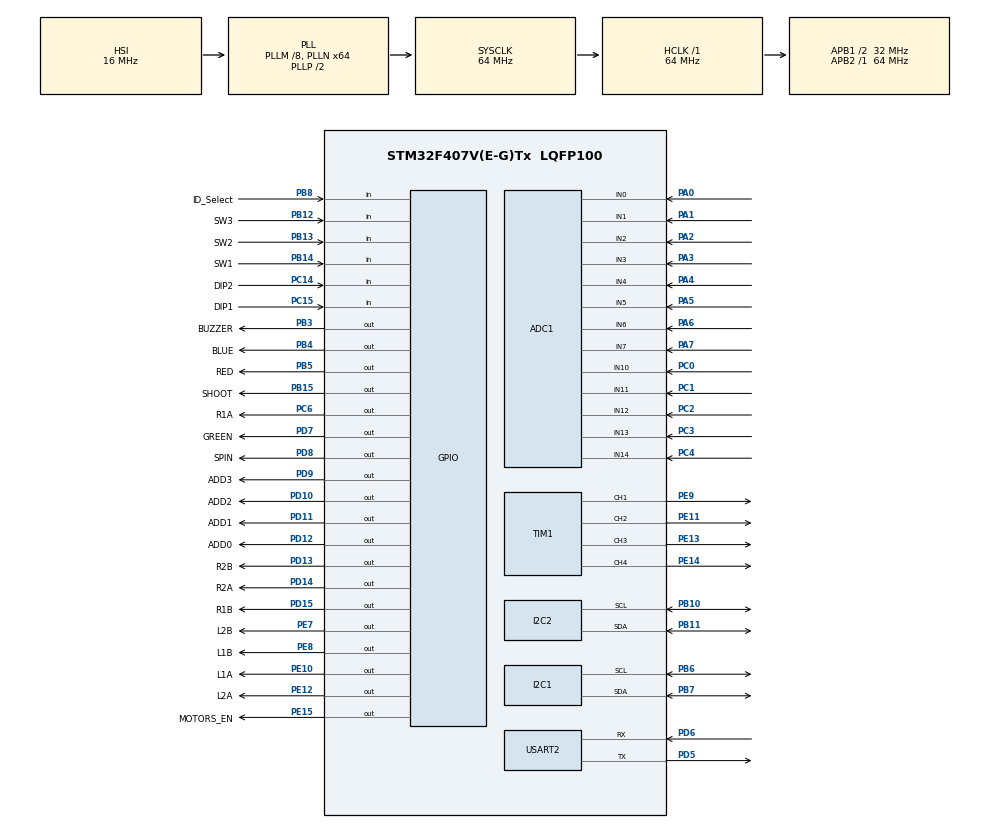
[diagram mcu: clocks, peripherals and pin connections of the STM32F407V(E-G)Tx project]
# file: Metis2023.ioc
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ADC1.Channel-0\#ChannelRegularConversion=ADC_CHANNEL_0
ADC1.NbrOfConversionFlag=1
ADC1.Rank-0\#ChannelRegularConversion=1
ADC1.SamplingTime-0\#ChannelRegularConversion=ADC_SAMPLETIME_3CYCLES
ADC1.master=1
I2C1.I2C_Mode=I2C_Fast
I2C2.I2C_Mode=I2C_Fast
Mcu.Family=STM32F4
Mcu.Name=STM32F407V(E-G)Tx
Mcu.Package=LQFP100
NVIC.PriorityGroup=NVIC_PRIORITYGROUP_4
PA0-WKUP.Signal=ADCx_IN0
PA1.Signal=ADCx_IN1
PA13.Mode=Serial_Wire
PA13.Signal=SYS_JTMS-SWDIO
PA14.Mode=Serial_Wire
PA14.Signal=SYS_JTCK-SWCLK
PA2.Signal=ADCx_IN2
PA3.Signal=ADCx_IN3
PA4.Signal=ADCx_IN4
PA5.Signal=ADCx_IN5
PA6.Signal=ADCx_IN6
PA7.Signal=ADCx_IN7
PB10.Mode=I2C
PB10.Signal=I2C2_SCL
PB11.Mode=I2C
PB11.Signal=I2C2_SDA
PB12.GPIO_Label=SW3
PB12.Signal=GPIO_Input
PB13.GPIO_Label=SW2
PB13.Signal=GPIO_Input
PB14.GPIO_Label=SW1
PB14.Signal=GPIO_Input
PB15.GPIO_Label=SHOOT
PB15.Signal=GPIO_Output
PB3.GPIO_Label=BUZZER
PB3.Signal=GPIO_Output
PB4.GPIO_Label=BLUE
PB4.Signal=GPIO_Output
PB5.GPIO_Label=RED
PB5.Signal=GPIO_Output
PB6.Mode=I2C
PB6.Signal=I2C1_SCL
PB7.Mode=I2C
PB7.Signal=I2C1_SDA
PB8.GPIO_Label=ID_Select
PB8.Signal=GPIO_Input
PC0.Signal=ADCx_IN10
PC1.Signal=ADCx_IN11
PC14-OSC32_IN.GPIO_Label=DIP2
PC14-OSC32_IN.Signal=GPIO_Input
PC15-OSC32_OUT.GPIO_Label=DIP1
PC15-OSC32_OUT.Signal=GPIO_Input
PC2.Signal=ADCx_IN12
PC3.Signal=ADCx_IN13
PC4.Signal=ADCx_IN14
PC6.GPIO_Label=R1A
PC6.Signal=GPIO_Output
PD10.GPIO_Label=ADD2
PD10.Signal=GPIO_Output
PD11.GPIO_Label=ADD1
PD11.Signal=GPIO_Output
PD12.GPIO_Label=ADD0
PD12.Signal=GPIO_Output
PD13.GPIO_Label=R2B
PD13.Signal=GPIO_Output
PD14.GPIO_Label=R2A
PD14.Signal=GPIO_Output
PD15.GPIO_Label=R1B
PD15.Signal=GPIO_Output
PD5.Mode=Asynchronous
PD5.Signal=USART2_TX
PD6.Mode=Asynchronous
PD6.Signal=USART2_RX
PD7.GPIO_Label=GREEN
PD7.Signal=GPIO_Output
PD8.GPIO_Label=SPIN
PD8.Signal=GPIO_Output
PD9.GPIO_Label=ADD3
PD9.Signal=GPIO_Output
PE10.GPIO_Label=L1A
PE10.Signal=GPIO_Output
PE11.Signal=S_TIM1_CH2
PE12.GPIO_Label=L2A
PE12.Signal=GPIO_Output
PE13.Signal=S_TIM1_CH3
PE14.Signal=S_TIM1_CH4
PE15.GPIO_Label=MOTORS_EN
PE15.PinState=GPIO_PIN_SET
PE15.Signal=GPIO_Output
PE7.GPIO_Label=L2B
PE7.Signal=GPIO_Output
PE8.GPIO_Label=L1B
PE8.Signal=GPIO_Output
PE9.Signal=S_TIM1_CH1
PH0-OSC_IN.Mode=HSE-External-Oscillator
PH0-OSC_IN.Signal=RCC_OSC_IN
PH1-OSC_OUT.Mode=HSE-External-Oscillator
PH1-OSC_OUT.Signal=RCC_OSC_OUT
ProjectManager.HeapSize=0x200
ProjectManager.StackSize=0x400
ProjectManager.TargetToolchain=STM32CubeIDE
RCC.48MHZClocksFreq_Value=32000000
RCC.AHBFreq_Value=64000000
RCC.APB1CLKDivider=RCC_HCLK_DIV2
RCC.APB1Freq_Value=32000000
RCC.APB1TimFreq_Value=64000000
RCC.APB2Freq_Value=64000000
RCC.APB2TimFreq_Value=64000000
RCC.CortexFreq_Value=64000000
RCC.HCLKFreq_Value=64000000
RCC.HSE_VALUE=25000000
RCC.HSI_VALUE=16000000
RCC.LSE_VALUE=32768
RCC.PLLM=8
RCC.PLLN=64
RCC.SYSCLKFreq_VALUE=64000000
RCC.SYSCLKSource=RCC_SYSCLKSOURCE_PLLCLK
RCC.VCOOutputFreq_Value=128000000
SH.ADCx_IN0.0=ADC1_IN0,IN0
SH.ADCx_IN1.0=ADC1_IN1,IN1
SH.ADCx_IN10.0=ADC1_IN10,IN10
SH.ADCx_IN11.0=ADC1_IN11,IN11
SH.ADCx_IN12.0=ADC1_IN12,IN12
SH.ADCx_IN13.0=ADC1_IN13,IN13
SH.ADCx_IN14.0=ADC1_IN14,IN14
SH.ADCx_IN2.0=ADC1_IN2,IN2
SH.ADCx_IN3.0=ADC1_IN3,IN3
SH.ADCx_IN4.0=ADC1_IN4,IN4
SH.ADCx_IN5.0=ADC1_IN5,IN5
SH.ADCx_IN6.0=ADC1_IN6,IN6
SH.ADCx_IN7.0=ADC1_IN7,IN7
SH.S_TIM1_CH1.0=TIM1_CH1,PWM Generation1 CH1
SH.S_TIM1_CH2.0=TIM1_CH2,PWM Generation2 CH2
SH.S_TIM1_CH3.0=TIM1_CH3,PWM Generation3 CH3
SH.S_TIM1_CH4.0=TIM1_CH4,PWM Generation4 CH4
TIM1.Channel-PWM\ Generation1\ CH1=TIM_CHANNEL_1
TIM1.Channel-PWM\ Generation2\ CH2=TIM_CHANNEL_2
TIM1.Channel-PWM\ Generation3\ CH3=TIM_CHANNEL_3
TIM1.Channel-PWM\ Generation4\ CH4=TIM_CHANNEL_4
USART2.VirtualMode=VM_ASYNC
board=custom

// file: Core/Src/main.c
/* USER CODE BEGIN Header */
/**
  ******************************************************************************
  * @file           : main.c
  * @brief          : Main program body
  ******************************************************************************
  * @attention
  *
  * Copyright (c) 2023 STMicroelectronics.
  * All rights reserved.
  *
  * This software is licensed under terms that can be found in the LICENSE file
  * in the root directory of this software component.
  * If no LICENSE file comes with this software, it is provided AS-IS.
  *
  ******************************************************************************
  */
/* USER CODE END Header */
#include "main.h"

/* USER CODE BEGIN Includes */
#include "math.h"
#include "fonts.h"
#include "ssd1306.h"

/* USER CODE END Includes */

 ADC_HandleTypeDef hadc1;

I2C_HandleTypeDef hi2c1;
I2C_HandleTypeDef hi2c2;

TIM_HandleTypeDef htim1;

UART_HandleTypeDef huart2;

/* USER CODE BEGIN PV */
#define RED_ON 	HAL_GPIO_WritePin(RED_GPIO_Port, RED_Pin, 1);
#define RED_OFF HAL_GPIO_WritePin(RED_GPIO_Port, RED_Pin, 0);
#define GREEN_ON 	HAL_GPIO_WritePin(GREEN_GPIO_Port, GREEN_Pin, 1);
#define GREEN_OFF HAL_GPIO_WritePin(GREEN_GPIO_Port, GREEN_Pin, 0);
#define BLUE_ON 	HAL_GPIO_WritePin(BLUE_GPIO_Port, BLUE_Pin, 1);
#define BLUE_OFF HAL_GPIO_WritePin(BLUE_GPIO_Port, BLUE_Pin, 0);
#define BUZZER_ON 	HAL_GPIO_WritePin(BUZZER_GPIO_Port, BUZZER_Pin, 1);
#define BUZZER_OFF HAL_GPIO_WritePin(BUZZER_GPIO_Port, BUZZER_Pin, 0);

/* USER CODE END PV */

void SystemClock_Config(void);
static void MX_GPIO_Init(void);
static void MX_TIM1_Init(void);
static void MX_ADC1_Init(void);
static void MX_I2C1_Init(void);
static void MX_I2C2_Init(void);
static void MX_USART2_UART_Init(void);

/* USER CODE BEGIN 0 */

#define Rahman_x 146
#define Rahman_y 102

#define Rahim_x 167
#define Rahim_y 121

int v = 100;
uint8_t i2c_tx_data[1] = {0};
uint8_t i2c_rx_data[64];
int x_robot, y_robot; // Inja taghir nade (boro balatar)!!!!!!!!
uint16_t checksum, signature, x_ball, y_ball, w_goal, h_goal, x_goal, y_goal;
int ball_angle , ball_dist, is_ball = 0;
int goal_angle , goal_dist, is_goal = 0;
#define RX2_Size 8
uint8_t Rx2_Buff[RX2_Size];
int16_t Pitch=0, Roll=0, Heading=0, rotation_fix = 0;
uint8_t GY_A5[] = {0xA5}, GY_54[] = {0x54}, GY_51[] = {0x51}, GY_55[] = {0x55}, GY_Init_Command[]    = {0xA5, 0x54, 0xA5, 0x51}, GY_Request_Command[] = {0xA5, 0x51}, GY_Set_Command[] = {0xA5, 0x55};
int kaf[16];
int kaf_set[] = {0,0,0,0,0,0,0,0,0,0,0,0,0,0,0,0};
int arrived_to_goal = 0, ball_in_kicker = 0;
int already_shooted = 0, shoot_cnt = 0, mf_cnt = 0, stop_before_shoot_cnt = 0, out_cnt;
#define LDR_Sens 200
char look_dir = 'F';
char* robotID;

void initGY(){
	HAL_Delay(500);
	HAL_UART_Transmit(&huart2, GY_A5, 1, 100);
	HAL_UART_Transmit(&huart2, GY_54, 1, 100);
	HAL_Delay(500);
	HAL_UART_Transmit(&huart2, GY_A5, 1, 100);
	HAL_UART_Transmit(&huart2, GY_51, 1, 100);
	HAL_Delay(500);
	HAL_UART_Transmit(&huart2, GY_A5, 1, 100);
	HAL_UART_Transmit(&huart2, GY_55, 1, 100);
	HAL_Delay(500);
}
void readGY(){
	HAL_UART_Transmit(&huart2, GY_A5, 1, 100);
	HAL_UART_Transmit(&huart2, GY_51, 1, 100);
	HAL_UART_Receive(&huart2, Rx2_Buff, RX2_Size, 100);
	for(int i=0; i<RX2_Size; i++){
		if(Rx2_Buff[i] == 0xAA){
			Heading = (int16_t)(Rx2_Buff[(i+1)%8]<<8 | Rx2_Buff[(i+2)%8])/100.00 + rotation_fix;
			Pitch = (int16_t)(Rx2_Buff[(i+3)%8]<<8 | Rx2_Buff[(i+4)%8])/100.00;
			Roll = (int16_t)(Rx2_Buff[(i+5)%8]<<8 | Rx2_Buff[(i+6)%8])/100.00;
			if(Heading > 180) Heading -= 360;
			if(Heading <-180) Heading += 360;

		}
	}
}
void print_num(char* label, int num, int x, int y){
	SSD1306_GotoXY(x, y);
	SSD1306_Puts(label, &Font_7x10, SSD1306_COLOR_WHITE);
	if(num >= 0){
		SSD1306_Putc('+', &Font_7x10, SSD1306_COLOR_WHITE);
		SSD1306_Putc((num/1000)%10+'0', &Font_7x10, SSD1306_COLOR_WHITE);
		SSD1306_Putc((num/100)%10+'0', &Font_7x10, SSD1306_COLOR_WHITE);
		SSD1306_Putc((num/10)%10+'0', &Font_7x10, SSD1306_COLOR_WHITE);
		SSD1306_Putc((num/1)%10+'0', &Font_7x10, SSD1306_COLOR_WHITE);
	}else{
		SSD1306_Putc('-', &Font_7x10, SSD1306_COLOR_WHITE);
		SSD1306_Putc((-num/1000)%10+'0', &Font_7x10, SSD1306_COLOR_WHITE);
		SSD1306_Putc((-num/100)%10+'0', &Font_7x10, SSD1306_COLOR_WHITE);
		SSD1306_Putc((-num/10)%10+'0', &Font_7x10, SSD1306_COLOR_WHITE);
		SSD1306_Putc((-num/1)%10+'0', &Font_7x10, SSD1306_COLOR_WHITE);
	}
}
uint32_t read_adc(uint32_t channel){
	ADC_ChannelConfTypeDef sConfig = {0};
	sConfig.SamplingTime = ADC_SAMPLETIME_15CYCLES;
	sConfig.Channel = channel;
	sConfig.Rank = 1;
	HAL_ADC_ConfigChannel(&hadc1, &sConfig);
	HAL_ADC_Start(&hadc1);
	HAL_ADC_PollForConversion(&hadc1, HAL_MAX_DELAY);
	uint32_t val = HAL_ADC_GetValue(&hadc1);
	return val;
}
void motor(int l1, int l2, int r2, int r1){
	int c;
	if(look_dir == 'F') c = Heading;
	if(look_dir == 'B') c = Heading + 180;
	if(c > 180)  c -= 360;
	if(c < -180) c += 360;

	if(c > 70)  c = 70;
	if(c < -70) c = -70;
	l1+=c;
	l2+=c;
	r1+=c;
	r2+=c;

	l1 *= 210;
	l2 *= 250;
	r2 *= 250;
	r1 *= 210;

	if(l1 > 65535)  l1 = 65535;
	if(l2 > 65535)  l2 = 65535;
	if(r1 > 65535)  r1 = 65535;
	if(r2 > 65535)  r2 = 65535;
	if(l1 < -65535) l1 = -65535;
	if(l2 < -65535) l2 = -65535;
	if(r1 < -65535) r1 = -65535;
	if(r2 < -65535) r2 = -65535;

	// ------------- Motor L1
	if(l1 > 0){
		HAL_GPIO_WritePin(L1A_GPIO_Port, L1A_Pin, 1);
		HAL_GPIO_WritePin(L1B_GPIO_Port, L1B_Pin, 0);
		TIM1->CCR1 = l1;
	}
	else if(l1 < 0){
		HAL_GPIO_WritePin(L1A_GPIO_Port, L1A_Pin, 0);
		HAL_GPIO_WritePin(L1B_GPIO_Port, L1B_Pin, 1);
		TIM1->CCR1 = -l1;
	}
	else{
		HAL_GPIO_WritePin(L1A_GPIO_Port, L1A_Pin, 1);
		HAL_GPIO_WritePin(L1B_GPIO_Port, L1B_Pin, 1);
	}
	// ------------- Motor L2
	if(l2 > 0){
		HAL_GPIO_WritePin(L2A_GPIO_Port, L2A_Pin, 1);
		HAL_GPIO_WritePin(L2B_GPIO_Port, L2B_Pin, 0);
		TIM1->CCR2 = l2;
	}
	else if(l2 < 0){
		HAL_GPIO_WritePin(L2A_GPIO_Port, L2A_Pin, 0);
		HAL_GPIO_WritePin(L2B_GPIO_Port, L2B_Pin, 1);
		TIM1->CCR2 = -l2;
	}
	else{
		HAL_GPIO_WritePin(L2A_GPIO_Port, L2A_Pin, 1);
		HAL_GPIO_WritePin(L2B_GPIO_Port, L2B_Pin, 1);
	}

	// ------------- Motor R1
	if(r1 > 0){
		HAL_GPIO_WritePin(R1A_GPIO_Port, R1A_Pin, 1);
		HAL_GPIO_WritePin(R1B_GPIO_Port, R1B_Pin, 0);
		TIM1->CCR4 = r1;
	}
	else if(r1 < 0){
		HAL_GPIO_WritePin(R1A_GPIO_Port, R1A_Pin, 0);
		HAL_GPIO_WritePin(R1B_GPIO_Port, R1B_Pin, 1);
		TIM1->CCR4 = -r1;
	}
	else{
		HAL_GPIO_WritePin(R1A_GPIO_Port, R1A_Pin, 1);
		HAL_GPIO_WritePin(R1B_GPIO_Port, R1B_Pin, 1);
	}
	// ------------- Motor R2
	if(r2 > 0){
		HAL_GPIO_WritePin(R2A_GPIO_Port, R2A_Pin, 1);
		HAL_GPIO_WritePin(R2B_GPIO_Port, R2B_Pin, 0);
		TIM1->CCR3 = r2;
	}
	else if(r2 < 0){
		HAL_GPIO_WritePin(R2A_GPIO_Port, R2A_Pin, 0);
		HAL_GPIO_WritePin(R2B_GPIO_Port, R2B_Pin, 1);
		TIM1->CCR3 = -r2;
	}
	else{
		HAL_GPIO_WritePin(R2A_GPIO_Port, R2A_Pin, 1);
		HAL_GPIO_WritePin(R2B_GPIO_Port, R2B_Pin, 1);
	}
}
void motor_without_correction(int l1, int l2, int r2, int r1){
	l1 *= 255;
	l2 *= 255;
	r1 *= 255;
	r2 *= 255;

	if(l1 > 65535)  l1 = 65535;
	if(l2 > 65535)  l2 = 65535;
	if(r1 > 65535)  r1 = 65535;
	if(r2 > 65535)  r2 = 65535;
	if(l1 < -65535) l1 = -65535;
	if(l2 < -65535) l2 = -65535;
	if(r1 < -65535) r1 = -65535;
	if(r2 < -65535) r2 = -65535;

	// ------------- Motor L1
	if(l1 > 0){
		HAL_GPIO_WritePin(L1A_GPIO_Port, L1A_Pin, 1);
		HAL_GPIO_WritePin(L1B_GPIO_Port, L1B_Pin, 0);
		TIM1->CCR1 = l1;
	}
	else if(l1 < 0){
		HAL_GPIO_WritePin(L1A_GPIO_Port, L1A_Pin, 0);
		HAL_GPIO_WritePin(L1B_GPIO_Port, L1B_Pin, 1);
		TIM1->CCR1 = -l1;
	}
	else{
		HAL_GPIO_WritePin(L1A_GPIO_Port, L1A_Pin, 1);
		HAL_GPIO_WritePin(L1B_GPIO_Port, L1B_Pin, 1);
	}
	// ------------- Motor L2
	if(l2 > 0){
		HAL_GPIO_WritePin(L2A_GPIO_Port, L2A_Pin, 1);
		HAL_GPIO_WritePin(L2B_GPIO_Port, L2B_Pin, 0);
		TIM1->CCR2 = l2;
	}
	else if(l2 < 0){
		HAL_GPIO_WritePin(L2A_GPIO_Port, L2A_Pin, 0);
		HAL_GPIO_WritePin(L2B_GPIO_Port, L2B_Pin, 1);
		TIM1->CCR2 = -l2;
	}
	else{
		HAL_GPIO_WritePin(L2A_GPIO_Port, L2A_Pin, 1);
		HAL_GPIO_WritePin(L2B_GPIO_Port, L2B_Pin, 1);
	}

	// ------------- Motor R1
	if(r1 > 0){
		HAL_GPIO_WritePin(R1A_GPIO_Port, R1A_Pin, 1);
		HAL_GPIO_WritePin(R1B_GPIO_Port, R1B_Pin, 0);
		TIM1->CCR4 = r1;
	}
	else if(r1 < 0){
		HAL_GPIO_WritePin(R1A_GPIO_Port, R1A_Pin, 0);
		HAL_GPIO_WritePin(R1B_GPIO_Port, R1B_Pin, 1);
		TIM1->CCR4 = -r1;
	}
	else{
		HAL_GPIO_WritePin(R1A_GPIO_Port, R1A_Pin, 1);
		HAL_GPIO_WritePin(R1B_GPIO_Port, R1B_Pin, 1);
	}
	// ------------- Motor R2
	if(r2 > 0){
		HAL_GPIO_WritePin(R2A_GPIO_Port, R2A_Pin, 1);
		HAL_GPIO_WritePin(R2B_GPIO_Port, R2B_Pin, 0);
		TIM1->CCR3 = r2;
	}
	else if(r2 < 0){
		HAL_GPIO_WritePin(R2A_GPIO_Port, R2A_Pin, 0);
		HAL_GPIO_WritePin(R2B_GPIO_Port, R2B_Pin, 1);
		TIM1->CCR3 = -r2;
	}
	else{
		HAL_GPIO_WritePin(R2A_GPIO_Port, R2A_Pin, 1);
		HAL_GPIO_WritePin(R2B_GPIO_Port, R2B_Pin, 1);
	}
}
void fast_stop(){
	 HAL_GPIO_WritePin(L1A_GPIO_Port, L1A_Pin, 1);
	 HAL_GPIO_WritePin(L1B_GPIO_Port, L1B_Pin, 1);
	 HAL_GPIO_WritePin(L2A_GPIO_Port, L2A_Pin, 1);
	 HAL_GPIO_WritePin(L2B_GPIO_Port, L2B_Pin, 1);
	 HAL_GPIO_WritePin(R1A_GPIO_Port, R1A_Pin, 1);
	 HAL_GPIO_WritePin(R1B_GPIO_Port, R1B_Pin, 1);
	 HAL_GPIO_WritePin(R2A_GPIO_Port, R2A_Pin, 1);
	 HAL_GPIO_WritePin(R2B_GPIO_Port, R2B_Pin, 1);
}
void stop() {
	motor(0,0,0,0);
}
void move(int a){
	if(a>360)     a-=360;
	if(a<0)       a+=360;
	int x = v * cos(a * M_PI / 180);
	int y = v * sin(a * M_PI / 180);
	motor((x + y) , (x - y) , (- x - y), (y - x));
}
void move_without_correction(int a){
	if(a>360)     a-=360;
	if(a<0)       a+=360;
	int x = v * cos(a * M_PI / 180);
	int y = v * sin(a * M_PI / 180);
	motor_without_correction((x + y) , (x - y) , (- x - y), (y - x));
}
void read_pixy(){
	if (HAL_I2C_Master_Receive(&hi2c1, 0x54 << 1,i2c_rx_data, sizeof(i2c_rx_data), 100) == HAL_OK){
		is_ball = 0;
		is_goal = 0;
		for (int i = sizeof(i2c_rx_data)-10; i >=0 ; i--) {
			if(i2c_rx_data[i] == 0x55 && i2c_rx_data[i+1] == 0xaa && i2c_rx_data[i+2] != 0xaa && i2c_rx_data[i+2] != 0x55 ){
				checksum  = i2c_rx_data[i+2]  | (i2c_rx_data[i+3] << 8);
				if(checksum == (i2c_rx_data[i+4]  | (i2c_rx_data[i+5] << 8)) + (i2c_rx_data[i+6]  | (i2c_rx_data[i+7] << 8)) + (i2c_rx_data[i+8]  | (i2c_rx_data[i+9] << 8)) + (i2c_rx_data[i+10] | (i2c_rx_data[i+11]<< 8)) + (i2c_rx_data[i+12] | (i2c_rx_data[i+13]<< 8))){
					signature = i2c_rx_data[i+4]  | (i2c_rx_data[i+5] << 8);
					if(signature == 1){
						x_ball    = i2c_rx_data[i+6]  | (i2c_rx_data[i+7] << 8);
						y_ball 	  = i2c_rx_data[i+8]  | (i2c_rx_data[i+9] << 8);
						ball_angle     = atan2(y_ball - y_robot, x_robot - x_ball) * 180 / M_PI;
						if(ball_angle < 0)   ball_angle = ball_angle + 360;
						ball_dist = sqrt(pow(x_robot - x_ball , 2) + pow(y_robot - y_ball , 2));
						is_ball = 1;
					}
					else if(signature == 2){
						x_goal    = i2c_rx_data[i+6]  | (i2c_rx_data[i+7] << 8);
						y_goal 	  = i2c_rx_data[i+8]  | (i2c_rx_data[i+9] << 8);
						w_goal 	  = i2c_rx_data[i+10] | (i2c_rx_data[i+11]<< 8);
						h_goal 	  = i2c_rx_data[i+12] | (i2c_rx_data[i+13]<< 8);
						goal_angle     = atan2(y_goal - y_robot, x_robot - x_goal) * 180 / M_PI;
						if(goal_angle < 0)   goal_angle = goal_angle + 360;
						goal_dist = sqrt(pow(x_robot - x_goal , 2) + pow(y_robot - y_goal , 2));
						is_goal = 1;
					}
				}
			}
		}
	}
}
void read_sensors(){
	if(HAL_GPIO_ReadPin(SW1_GPIO_Port, SW1_Pin)){
		RED_ON;
		BUZZER_ON;
		for(int i=0; i<16; i++){
			HAL_GPIO_WritePin(ADD0_GPIO_Port, ADD0_Pin, (i/1)%2);
			HAL_GPIO_WritePin(ADD1_GPIO_Port, ADD1_Pin, (i/2)%2);
			HAL_GPIO_WritePin(ADD2_GPIO_Port, ADD2_Pin, (i/4)%2);
			HAL_GPIO_WritePin(ADD3_GPIO_Port, ADD3_Pin, (i/8)%2);
			kaf_set[i] = read_adc(ADC_CHANNEL_14);
		}
		while(HAL_GPIO_ReadPin(SW1_GPIO_Port, SW1_Pin));
		RED_OFF;
		BUZZER_OFF;
	}
	for(int i=0; i<16; i++){
		HAL_GPIO_WritePin(ADD0_GPIO_Port, ADD0_Pin, (i/1)%2);
		HAL_GPIO_WritePin(ADD1_GPIO_Port, ADD1_Pin, (i/2)%2);
		HAL_GPIO_WritePin(ADD2_GPIO_Port, ADD2_Pin, (i/4)%2);
		HAL_GPIO_WritePin(ADD3_GPIO_Port, ADD3_Pin, (i/8)%2);
		if(i == 5)  kaf[0]  = kaf_set[i] - read_adc(ADC_CHANNEL_14);
		if(i == 9)  kaf[1]  = kaf_set[i] - read_adc(ADC_CHANNEL_14);
		if(i == 11) kaf[2]  = kaf_set[i] - read_adc(ADC_CHANNEL_14);
		if(i == 4)  kaf[3]  = kaf_set[i] - read_adc(ADC_CHANNEL_14);
		if(i == 6)  kaf[4]  = kaf_set[i] - read_adc(ADC_CHANNEL_14);
		if(i == 8)  kaf[5]  = kaf_set[i] - read_adc(ADC_CHANNEL_14);
		if(i == 12) kaf[6]  = kaf_set[i] - read_adc(ADC_CHANNEL_14);
		if(i == 7)  kaf[7]  = kaf_set[i] - read_adc(ADC_CHANNEL_14);
		if(i == 3)  kaf[8]  = kaf_set[i] - read_adc(ADC_CHANNEL_14);
		if(i == 1)  kaf[9]  = kaf_set[i] - read_adc(ADC_CHANNEL_14);
		if(i == 14) kaf[10] = kaf_set[i] - read_adc(ADC_CHANNEL_14);
		if(i == 10) kaf[11] = kaf_set[i] - read_adc(ADC_CHANNEL_14);
		if(i == 2)  kaf[12] = kaf_set[i] - read_adc(ADC_CHANNEL_14);
		if(i == 15) kaf[13] = kaf_set[i] - read_adc(ADC_CHANNEL_14);
		if(i == 13) kaf[14] = kaf_set[i] - read_adc(ADC_CHANNEL_14);
		if(i == 0)  kaf[15] = kaf_set[i] - read_adc(ADC_CHANNEL_14);
	}
	int shoot_sens   = read_adc(ADC_CHANNEL_10);
	if(shoot_sens < 2500) ball_in_kicker = 1;
	else 				  ball_in_kicker = 0;
//	int battery_volt = read_adc(ADC_CHANNEL_7) * 0.044;
	read_pixy();
	readGY();

	print_num("GY:", Heading, 0, 0);
	print_num("XB:", x_ball, 0, 10);
	print_num("YB:", y_ball, 0, 20);
	print_num("BA:", ball_angle, 0, 30);
	print_num("BD", ball_dist, 0, 40);
	print_num("SH", shoot_sens, 0, 50);
	SSD1306_GotoXY(64, 0);
	if(HAL_GPIO_ReadPin(DIP1_GPIO_Port, DIP1_Pin))
		SSD1306_Puts("Rotate", &Font_7x10, 1);
	else
		SSD1306_Puts("Straight", &Font_7x10, 1);
	SSD1306_GotoXY(64, 10);
	if(HAL_GPIO_ReadPin(DIP2_GPIO_Port, DIP2_Pin))
		SSD1306_Puts("Goalkpr", &Font_7x10, 1);
	else
		SSD1306_Puts("Forward", &Font_7x10, 1);
	SSD1306_GotoXY(64, 50);
	SSD1306_Puts(robotID, &Font_7x10, 1);
}
void delay(int sec){
	for(int i=0; i<sec; i++){
		read_sensors();
	}
}
void spin(int spin){
	if      (spin==1)  		 HAL_GPIO_WritePin(SPIN_GPIO_Port, SPIN_Pin, 1);
	else if (spin==0)		 HAL_GPIO_WritePin(SPIN_GPIO_Port, SPIN_Pin, 0);
}
void shoot(){
	if( already_shooted == 1){
		shoot_cnt++;
		if(shoot_cnt > 50)  already_shooted = 0;
	}
	HAL_GPIO_WritePin(SHOOT_GPIO_Port, SHOOT_Pin, 1);
	delay(5);
	HAL_GPIO_WritePin(SHOOT_GPIO_Port, SHOOT_Pin, 0);
	delay(5);
	already_shooted = 1;
	shoot_cnt = 0;
}
void rotate_and_shoot(){
	spin(1);
	v = 50;
	if(mf_cnt < 5){
		arrived_to_goal = 0;
		move(0);
		mf_cnt++;
	}
	else{
		look_dir = 'B';
		if(Heading < 135 && Heading > -135 && arrived_to_goal == 0){
			if(Heading < 0) motor_without_correction(70, 70, 70, 0);
			else 			motor_without_correction(0, -70, -70, -70);
		}
		else{
			if (arrived_to_goal == 0) {
				v = 50;
				move(goal_angle);
				if(kaf[15] > LDR_Sens || kaf[14] > LDR_Sens || kaf[13] > LDR_Sens || kaf[9] > LDR_Sens || kaf[6] > LDR_Sens) arrived_to_goal = 1;
				stop_before_shoot_cnt = 0;
			}
			else {
				if(goal_angle < 5 || goal_angle > 355) {
					fast_stop();
					shoot();
				}
				else if(goal_angle < 180) {
					motor_without_correction(70, 70, 70, 0);
//					last_turn_dir = 'R';
					stop_before_shoot_cnt = 0;
				}
				else if(goal_angle >=180) {
					motor_without_correction(0, -70, -70, -70);
//					last_turn_dir = 'L';
					stop_before_shoot_cnt = 0;
				}

			}
		}
	}
}
void shoot_straight(){
	spin(1);
	if(mf_cnt < 5){
		arrived_to_goal = 0;
		move(0);
		mf_cnt++;
	}
	else{
		if(goal_angle < 3 || goal_angle > 357) {
			fast_stop();
			shoot();
		}
		else if(goal_angle < 180)
			motor_without_correction(70, 70, 70, 0);
		else if(goal_angle >=180)
			motor_without_correction(0, -70, -70, -70);
	}
}
void moveForSec(int angle, int sec){
	for(int i=0; i<sec; i++){
		read_sensors();
		move(angle);
	}
}
void OUT(){
	out_cnt = 0;
	v = 80;
	if(kaf[15] > LDR_Sens || kaf[14] > LDR_Sens || kaf[13] > LDR_Sens || kaf[9] > LDR_Sens || kaf[6] > LDR_Sens) arrived_to_goal = 1;
	if(kaf[0] > LDR_Sens || kaf[1] > LDR_Sens || kaf[2] > LDR_Sens || kaf[4] > LDR_Sens){
		fast_stop();
		moveForSec(180, 10);
		while(is_ball && out_cnt <30){
		  read_sensors();
		  stop();
		  out_cnt++;
		}
	}
	else if(kaf[3] > LDR_Sens){
		fast_stop();
		moveForSec(225, 10);
		while(is_ball && out_cnt <30){
			read_sensors();
			stop();
			out_cnt++;
		}
	}
	else if(kaf[6] > LDR_Sens || kaf[7] > LDR_Sens){
		fast_stop();
		moveForSec(270, 10);
		while(is_ball && out_cnt <30){
		  read_sensors();
		  stop();
		  out_cnt++;
		}
	}
	else if(kaf[10] > LDR_Sens){
		fast_stop();
		moveForSec(315, 10);
		while(is_ball && out_cnt <30){
			read_sensors();
			stop();
			out_cnt++;
		}
	}
	else if(kaf[13] > LDR_Sens || kaf[14] > LDR_Sens || kaf[15] > LDR_Sens || kaf[11] > LDR_Sens){
		fast_stop();
		moveForSec(0, 10);
		while(is_ball && out_cnt <30){
		  read_sensors();
		  stop();
		  out_cnt++;
		}
	}
	else if(kaf[12] > LDR_Sens){
		fast_stop();
		moveForSec(45, 10);
		while(is_ball && out_cnt <30){
			read_sensors();
			stop();
			out_cnt++;
		}
	}
	else if(kaf[9] > LDR_Sens || kaf[8] > LDR_Sens){
		fast_stop();
		moveForSec(90, 10);
		while(is_ball && out_cnt <30){
		  read_sensors();
		  stop();
		  out_cnt++;
		}
	}
	else if(kaf[5] > LDR_Sens){
		fast_stop();
		moveForSec(135, 10);
		while(is_ball && out_cnt <30){
			read_sensors();
			stop();
			out_cnt++;
	  }
	}
}
void motor_test(){
	motor_without_correction(100, 0, 0, 0);
	HAL_Delay(1000);
	motor_without_correction(0, 1000, 0, 0);
	HAL_Delay(1000);
	motor_without_correction(0, 0, 100, 0);
	HAL_Delay(1000);
	motor_without_correction(0, 0, 0, 100);
	HAL_Delay(1000);

}

/* USER CODE END 0 */

int main(void)
{

  /* MCU Configuration--------------------------------------------------------*/

  /* Reset of all peripherals, Initializes the Flash interface and the Systick. */
  HAL_Init();

  /* Configure the system clock */
  SystemClock_Config();

  /* Initialize all configured peripherals */
  MX_GPIO_Init();
  MX_TIM1_Init();
  MX_ADC1_Init();
  MX_I2C1_Init();
  MX_I2C2_Init();
  MX_USART2_UART_Init();
  /* USER CODE BEGIN 2 */
  HAL_GPIO_WritePin(MOTORS_EN_GPIO_Port, MOTORS_EN_Pin, 1);
  HAL_TIM_PWM_Start(&htim1, TIM_CHANNEL_1);
  HAL_TIM_PWM_Start(&htim1, TIM_CHANNEL_2);
  HAL_TIM_PWM_Start(&htim1, TIM_CHANNEL_3);
  HAL_TIM_PWM_Start(&htim1, TIM_CHANNEL_4);
  for(int i=0; i<2; i++){
	HAL_GPIO_WritePin(BLUE_GPIO_Port, BLUE_Pin, 1);
	HAL_GPIO_WritePin(BUZZER_GPIO_Port, BUZZER_Pin, 1);
	HAL_Delay(100);
	HAL_GPIO_WritePin(BLUE_GPIO_Port, BLUE_Pin, 0);
	HAL_GPIO_WritePin(BUZZER_GPIO_Port, BUZZER_Pin, 0);
	HAL_Delay(100);
  }
  SSD1306_Init();
  if(HAL_GPIO_ReadPin(ID_Select_GPIO_Port, ID_Select_Pin)){
	  robotID = "RAHMAN";
	  x_robot = Rahman_x;
	  y_robot = Rahman_y;
  }else{
	  robotID = "RAHIM";
	  x_robot = Rahim_x;
	  y_robot = Rahim_y;
  }
//  if(HAL_GPIO_ReadPin(SW3_GPIO_Port, SW3_Pin)) motor_test();
  /* USER CODE END 2 */

  /* Infinite loop */
  /* USER CODE BEGIN WHILE */
  while (1)
  {
	read_sensors();
	v = 200;
	OUT();
	if(ball_in_kicker){
		if(HAL_GPIO_ReadPin(DIP1_GPIO_Port, DIP1_Pin))
			rotate_and_shoot();
		else
			shoot_straight();
	}
	else if(is_ball){
		if(ball_dist > 50){
			v = 150;
			move(ball_angle);
			spin(0);
		}
		else {
			if(ball_angle<20 || ball_angle > 340)	spin(1);
			else 									spin(0);
			v = 100;
			if 		(ball_angle<20 || ball_angle > 340)   move(ball_angle/2);
			else if (ball_angle<40)       				  move(ball_angle+20);
			else if (ball_angle<90)       				  move(ball_angle+40);
			else if (ball_angle<180)       				  move(ball_angle+80);
			else if (ball_angle<270)       				  move(ball_angle-80);
			else if (ball_angle<320)       				  move(ball_angle-40);
			else if (ball_angle<=360)       			  move(ball_angle-20);
		}
		mf_cnt = 0;
		look_dir = 'F';
	}
	else {
		spin(0);
		stop();
		mf_cnt = 0;
		look_dir = 'F';
	}
	SSD1306_UpdateScreen();
    /* USER CODE END WHILE */

  }
}

void SystemClock_Config(void)
{
  RCC_OscInitTypeDef RCC_OscInitStruct = {0};
  RCC_ClkInitTypeDef RCC_ClkInitStruct = {0};

  /** Configure the main internal regulator output voltage
  */
  __HAL_RCC_PWR_CLK_ENABLE();
  __HAL_PWR_VOLTAGESCALING_CONFIG(PWR_REGULATOR_VOLTAGE_SCALE1);

  /** Initializes the RCC Oscillators according to the specified parameters
  * in the RCC_OscInitTypeDef structure.
  */
  RCC_OscInitStruct.OscillatorType = RCC_OSCILLATORTYPE_HSI;
  RCC_OscInitStruct.HSIState = RCC_HSI_ON;
  RCC_OscInitStruct.HSICalibrationValue = RCC_HSICALIBRATION_DEFAULT;
  RCC_OscInitStruct.PLL.PLLState = RCC_PLL_ON;
  RCC_OscInitStruct.PLL.PLLSource = RCC_PLLSOURCE_HSI;
  RCC_OscInitStruct.PLL.PLLM = 8;
  RCC_OscInitStruct.PLL.PLLN = 64;
  RCC_OscInitStruct.PLL.PLLP = RCC_PLLP_DIV2;
  RCC_OscInitStruct.PLL.PLLQ = 4;
  if (HAL_RCC_OscConfig(&RCC_OscInitStruct) != HAL_OK)
  {
    Error_Handler();
  }

  /** Initializes the CPU, AHB and APB buses clocks
  */
  RCC_ClkInitStruct.ClockType = RCC_CLOCKTYPE_HCLK|RCC_CLOCKTYPE_SYSCLK
                              |RCC_CLOCKTYPE_PCLK1|RCC_CLOCKTYPE_PCLK2;
  RCC_ClkInitStruct.SYSCLKSource = RCC_SYSCLKSOURCE_PLLCLK;
  RCC_ClkInitStruct.AHBCLKDivider = RCC_SYSCLK_DIV1;
  RCC_ClkInitStruct.APB1CLKDivider = RCC_HCLK_DIV2;
  RCC_ClkInitStruct.APB2CLKDivider = RCC_HCLK_DIV1;

  if (HAL_RCC_ClockConfig(&RCC_ClkInitStruct, FLASH_LATENCY_2) != HAL_OK)
  {
    Error_Handler();
  }
}

static void MX_ADC1_Init(void)
{

  ADC_ChannelConfTypeDef sConfig = {0};

  /** Configure the global features of the ADC (Clock, Resolution, Data Alignment and number of conversion)
  */
  hadc1.Instance = ADC1;
  hadc1.Init.ClockPrescaler = ADC_CLOCK_SYNC_PCLK_DIV2;
  hadc1.Init.Resolution = ADC_RESOLUTION_12B;
  hadc1.Init.ScanConvMode = DISABLE;
  hadc1.Init.ContinuousConvMode = DISABLE;
  hadc1.Init.DiscontinuousConvMode = DISABLE;
  hadc1.Init.ExternalTrigConvEdge = ADC_EXTERNALTRIGCONVEDGE_NONE;
  hadc1.Init.ExternalTrigConv = ADC_SOFTWARE_START;
  hadc1.Init.DataAlign = ADC_DATAALIGN_RIGHT;
  hadc1.Init.NbrOfConversion = 1;
  hadc1.Init.DMAContinuousRequests = DISABLE;
  hadc1.Init.EOCSelection = ADC_EOC_SINGLE_CONV;
  if (HAL_ADC_Init(&hadc1) != HAL_OK)
  {
    Error_Handler();
  }

  /** Configure for the selected ADC regular channel its corresponding rank in the sequencer and its sample time.
  */
  sConfig.Channel = ADC_CHANNEL_0;
  sConfig.Rank = 1;
  sConfig.SamplingTime = ADC_SAMPLETIME_3CYCLES;
  if (HAL_ADC_ConfigChannel(&hadc1, &sConfig) != HAL_OK)
  {
    Error_Handler();
  }

}

static void MX_I2C1_Init(void)
{

  hi2c1.Instance = I2C1;
  hi2c1.Init.ClockSpeed = 400000;
  hi2c1.Init.DutyCycle = I2C_DUTYCYCLE_2;
  hi2c1.Init.OwnAddress1 = 0;
  hi2c1.Init.AddressingMode = I2C_ADDRESSINGMODE_7BIT;
  hi2c1.Init.DualAddressMode = I2C_DUALADDRESS_DISABLE;
  hi2c1.Init.OwnAddress2 = 0;
  hi2c1.Init.GeneralCallMode = I2C_GENERALCALL_DISABLE;
  hi2c1.Init.NoStretchMode = I2C_NOSTRETCH_DISABLE;
  if (HAL_I2C_Init(&hi2c1) != HAL_OK)
  {
    Error_Handler();
  }

}

static void MX_I2C2_Init(void)
{

  hi2c2.Instance = I2C2;
  hi2c2.Init.ClockSpeed = 400000;
  hi2c2.Init.DutyCycle = I2C_DUTYCYCLE_2;
  hi2c2.Init.OwnAddress1 = 0;
  hi2c2.Init.AddressingMode = I2C_ADDRESSINGMODE_7BIT;
  hi2c2.Init.DualAddressMode = I2C_DUALADDRESS_DISABLE;
  hi2c2.Init.OwnAddress2 = 0;
  hi2c2.Init.GeneralCallMode = I2C_GENERALCALL_DISABLE;
  hi2c2.Init.NoStretchMode = I2C_NOSTRETCH_DISABLE;
  if (HAL_I2C_Init(&hi2c2) != HAL_OK)
  {
    Error_Handler();
  }

}

static void MX_TIM1_Init(void)
{

  TIM_MasterConfigTypeDef sMasterConfig = {0};
  TIM_OC_InitTypeDef sConfigOC = {0};
  TIM_BreakDeadTimeConfigTypeDef sBreakDeadTimeConfig = {0};

  htim1.Instance = TIM1;
  htim1.Init.Prescaler = 0;
  htim1.Init.CounterMode = TIM_COUNTERMODE_UP;
  htim1.Init.Period = 65535;
  htim1.Init.ClockDivision = TIM_CLOCKDIVISION_DIV1;
  htim1.Init.RepetitionCounter = 0;
  htim1.Init.AutoReloadPreload = TIM_AUTORELOAD_PRELOAD_DISABLE;
  if (HAL_TIM_PWM_Init(&htim1) != HAL_OK)
  {
    Error_Handler();
  }
  sMasterConfig.MasterOutputTrigger = TIM_TRGO_RESET;
  sMasterConfig.MasterSlaveMode = TIM_MASTERSLAVEMODE_DISABLE;
  if (HAL_TIMEx_MasterConfigSynchronization(&htim1, &sMasterConfig) != HAL_OK)
  {
    Error_Handler();
  }
  sConfigOC.OCMode = TIM_OCMODE_PWM1;
  sConfigOC.Pulse = 0;
  sConfigOC.OCPolarity = TIM_OCPOLARITY_HIGH;
  sConfigOC.OCNPolarity = TIM_OCNPOLARITY_HIGH;
  sConfigOC.OCFastMode = TIM_OCFAST_DISABLE;
  sConfigOC.OCIdleState = TIM_OCIDLESTATE_RESET;
  sConfigOC.OCNIdleState = TIM_OCNIDLESTATE_RESET;
  if (HAL_TIM_PWM_ConfigChannel(&htim1, &sConfigOC, TIM_CHANNEL_1) != HAL_OK)
  {
    Error_Handler();
  }
  if (HAL_TIM_PWM_ConfigChannel(&htim1, &sConfigOC, TIM_CHANNEL_2) != HAL_OK)
  {
    Error_Handler();
  }
  if (HAL_TIM_PWM_ConfigChannel(&htim1, &sConfigOC, TIM_CHANNEL_3) != HAL_OK)
  {
    Error_Handler();
  }
  if (HAL_TIM_PWM_ConfigChannel(&htim1, &sConfigOC, TIM_CHANNEL_4) != HAL_OK)
  {
    Error_Handler();
  }
  sBreakDeadTimeConfig.OffStateRunMode = TIM_OSSR_DISABLE;
  sBreakDeadTimeConfig.OffStateIDLEMode = TIM_OSSI_DISABLE;
  sBreakDeadTimeConfig.LockLevel = TIM_LOCKLEVEL_OFF;
  sBreakDeadTimeConfig.DeadTime = 0;
  sBreakDeadTimeConfig.BreakState = TIM_BREAK_DISABLE;
  sBreakDeadTimeConfig.BreakPolarity = TIM_BREAKPOLARITY_HIGH;
  sBreakDeadTimeConfig.AutomaticOutput = TIM_AUTOMATICOUTPUT_DISABLE;
  if (HAL_TIMEx_ConfigBreakDeadTime(&htim1, &sBreakDeadTimeConfig) != HAL_OK)
  {
    Error_Handler();
  }
  HAL_TIM_MspPostInit(&htim1);

}

static void MX_USART2_UART_Init(void)
{

  huart2.Instance = USART2;
  huart2.Init.BaudRate = 115200;
  huart2.Init.WordLength = UART_WORDLENGTH_8B;
  huart2.Init.StopBits = UART_STOPBITS_1;
  huart2.Init.Parity = UART_PARITY_NONE;
  huart2.Init.Mode = UART_MODE_TX_RX;
  huart2.Init.HwFlowCtl = UART_HWCONTROL_NONE;
  huart2.Init.OverSampling = UART_OVERSAMPLING_16;
  if (HAL_UART_Init(&huart2) != HAL_OK)
  {
    Error_Handler();
  }

}

static void MX_GPIO_Init(void)
{
  GPIO_InitTypeDef GPIO_InitStruct = {0};

  /* GPIO Ports Clock Enable */
  __HAL_RCC_GPIOC_CLK_ENABLE();
  __HAL_RCC_GPIOH_CLK_ENABLE();
  __HAL_RCC_GPIOA_CLK_ENABLE();
  __HAL_RCC_GPIOE_CLK_ENABLE();
  __HAL_RCC_GPIOB_CLK_ENABLE();
  __HAL_RCC_GPIOD_CLK_ENABLE();

  /*Configure GPIO pin Output Level */
  HAL_GPIO_WritePin(GPIOE, L2B_Pin|L1B_Pin|L1A_Pin|L2A_Pin, GPIO_PIN_RESET);

  /*Configure GPIO pin Output Level */
  HAL_GPIO_WritePin(MOTORS_EN_GPIO_Port, MOTORS_EN_Pin, GPIO_PIN_SET);

  /*Configure GPIO pin Output Level */
  HAL_GPIO_WritePin(GPIOB, SHOOT_Pin|BUZZER_Pin|BLUE_Pin|RED_Pin, GPIO_PIN_RESET);

  /*Configure GPIO pin Output Level */
  HAL_GPIO_WritePin(GPIOD, SPIN_Pin|ADD3_Pin|ADD2_Pin|ADD1_Pin
                          |ADD0_Pin|R2B_Pin|R2A_Pin|R1B_Pin
                          |GREEN_Pin, GPIO_PIN_RESET);

  /*Configure GPIO pin Output Level */
  HAL_GPIO_WritePin(R1A_GPIO_Port, R1A_Pin, GPIO_PIN_RESET);

  /*Configure GPIO pins : DIP2_Pin DIP1_Pin */
  GPIO_InitStruct.Pin = DIP2_Pin|DIP1_Pin;
  GPIO_InitStruct.Mode = GPIO_MODE_INPUT;
  GPIO_InitStruct.Pull = GPIO_NOPULL;
  HAL_GPIO_Init(GPIOC, &GPIO_InitStruct);

  /*Configure GPIO pins : L2B_Pin L1B_Pin L1A_Pin L2A_Pin
                           MOTORS_EN_Pin */
  GPIO_InitStruct.Pin = L2B_Pin|L1B_Pin|L1A_Pin|L2A_Pin
                          |MOTORS_EN_Pin;
  GPIO_InitStruct.Mode = GPIO_MODE_OUTPUT_PP;
  GPIO_InitStruct.Pull = GPIO_NOPULL;
  GPIO_InitStruct.Speed = GPIO_SPEED_FREQ_LOW;
  HAL_GPIO_Init(GPIOE, &GPIO_InitStruct);

  /*Configure GPIO pins : SW3_Pin SW2_Pin SW1_Pin ID_Select_Pin */
  GPIO_InitStruct.Pin = SW3_Pin|SW2_Pin|SW1_Pin|ID_Select_Pin;
  GPIO_InitStruct.Mode = GPIO_MODE_INPUT;
  GPIO_InitStruct.Pull = GPIO_NOPULL;
  HAL_GPIO_Init(GPIOB, &GPIO_InitStruct);

  /*Configure GPIO pins : SHOOT_Pin BUZZER_Pin BLUE_Pin RED_Pin */
  GPIO_InitStruct.Pin = SHOOT_Pin|BUZZER_Pin|BLUE_Pin|RED_Pin;
  GPIO_InitStruct.Mode = GPIO_MODE_OUTPUT_PP;
  GPIO_InitStruct.Pull = GPIO_NOPULL;
  GPIO_InitStruct.Speed = GPIO_SPEED_FREQ_LOW;
  HAL_GPIO_Init(GPIOB, &GPIO_InitStruct);

  /*Configure GPIO pins : SPIN_Pin ADD3_Pin ADD2_Pin ADD1_Pin
                           ADD0_Pin R2B_Pin R2A_Pin R1B_Pin
                           GREEN_Pin */
  GPIO_InitStruct.Pin = SPIN_Pin|ADD3_Pin|ADD2_Pin|ADD1_Pin
                          |ADD0_Pin|R2B_Pin|R2A_Pin|R1B_Pin
                          |GREEN_Pin;
  GPIO_InitStruct.Mode = GPIO_MODE_OUTPUT_PP;
  GPIO_InitStruct.Pull = GPIO_NOPULL;
  GPIO_InitStruct.Speed = GPIO_SPEED_FREQ_LOW;
  HAL_GPIO_Init(GPIOD, &GPIO_InitStruct);

  /*Configure GPIO pin : R1A_Pin */
  GPIO_InitStruct.Pin = R1A_Pin;
  GPIO_InitStruct.Mode = GPIO_MODE_OUTPUT_PP;
  GPIO_InitStruct.Pull = GPIO_NOPULL;
  GPIO_InitStruct.Speed = GPIO_SPEED_FREQ_LOW;
  HAL_GPIO_Init(R1A_GPIO_Port, &GPIO_InitStruct);

}

void Error_Handler(void)
{
  __disable_irq();
  while (1)
  {
  }
}
